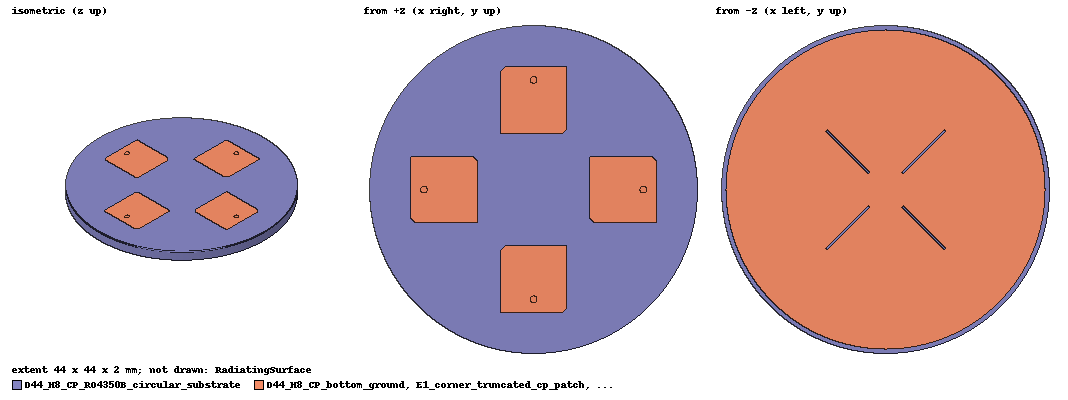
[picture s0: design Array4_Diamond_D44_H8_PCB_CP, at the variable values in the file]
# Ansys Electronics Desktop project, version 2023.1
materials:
  vacuum: permittivity=1
  RO4350B_custom_D44_H8_CP: permittivity=3.48 permeability=1 dielectric_loss_tangent=0.0037
  copper: permeability=0.999991 conductivity=58000000
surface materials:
  Steel-oxidised-surface

design Array4_Diamond_D44_H8_PCB_CP (HFSS, HFSS Modal Network, model units mm)
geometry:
  D44_H8_CP_RO4350B_circular_substrate [RO4350B_custom_D44_H8_CP] = cylinder(axis=Z, base_centre=(0mm, 0mm, 0mm), radius=22mm, height=2mm, segments=128)
  D44_H8_CP_bottom_ground [copper] = circle(normal=Z, centre=(0mm, 0mm, 0mm), radius=21.4mm, segments=128)
  ground_isolation_slot_1 = polyline(z=0mm, xy in mm: (2.3864854, 2.138998) (8.0433396, 7.7958523) (7.7958523, 8.0433396) (2.138998, 2.3864854) (2.3864854, 2.138998), closed, covered)
  ground_isolation_slot_2 = polyline(z=0mm, xy in mm: (-2.138998, 2.3864854) (-7.7958523, 8.0433396) (-8.0433396, 7.7958523) (-2.3864854, 2.138998) (-2.138998, 2.3864854), closed, covered)
  ground_isolation_slot_3 = polyline(z=0mm, xy in mm: (-2.3864854, -2.138998) (-8.0433396, -7.7958523) (-7.7958523, -8.0433396) (-2.138998, -2.3864854) (-2.3864854, -2.138998), closed, covered)
  ground_isolation_slot_4 = polyline(z=0mm, xy in mm: (2.138998, -2.3864854) (7.7958523, -8.0433396) (8.0433396, -7.7958523) (2.3864854, -2.138998) (2.138998, -2.3864854), closed, covered)
  D44_H8_CP_bottom_ground.subtract(ground_isolation_slot_1..ground_isolation_slot_4)
  E1_corner_truncated_cp_patch [copper] = polyline(z=2mm, xy in mm: (8.1858153, -4.455) (16.475815, -4.455) (16.475815, 3.835) (15.855815, 4.455) (7.5658153, 4.455) (7.5658153, -3.835) (8.1858153, -4.455), closed, covered)
  E1_feed_pad [copper] = circle(normal=Z, centre=(14.700815mm, 0mm, 2mm), radius=0.45mm, segments=36)
  E1_probe_lumped_port_sheet = polyline(x=14.700815mm, yz in mm: (-0.375, 0) (0.375, 0) (0.375, 2) (-0.375, 2) (-0.375, 0), closed, covered)
  E2_corner_truncated_cp_patch [copper] = polyline(z=2mm, xy in mm: (4.455, 8.1858153) (4.455, 16.475815) (-3.835, 16.475815) (-4.455, 15.855815) (-4.455, 7.5658153) (3.835, 7.5658153) (4.455, 8.1858153), closed, covered)
  E2_feed_pad [copper] = circle(normal=Z, centre=(9.0016532e-16mm, 14.700815mm, 2mm), radius=0.45mm, segments=36)
  E2_probe_lumped_port_sheet = polyline(y=14.700815mm, xz in mm: (0.375, 0) (-0.375, 0) (-0.375, 2) (0.375, 2) (0.375, 0), closed, covered)
  E3_corner_truncated_cp_patch [copper] = polyline(z=2mm, xy in mm: (-8.1858153, 4.455) (-16.475815, 4.455) (-16.475815, -3.835) (-15.855815, -4.455) (-7.5658153, -4.455) (-7.5658153, 3.835) (-8.1858153, 4.455), closed, covered)
  E3_feed_pad [copper] = circle(normal=Z, centre=(-14.700815mm, 1.8003306e-15mm, 2mm), radius=0.45mm, segments=36)
  E3_probe_lumped_port_sheet = polyline(x=-14.700815mm, yz in mm: (0.375, 0) (-0.375, 0) (-0.375, 2) (0.375, 2) (0.375, 0), closed, covered)
  E4_corner_truncated_cp_patch [copper] = polyline(z=2mm, xy in mm: (-4.455, -8.1858153) (-4.455, -16.475815) (3.835, -16.475815) (4.455, -15.855815) (4.455, -7.5658153) (-3.835, -7.5658153) (-4.455, -8.1858153), closed, covered)
  E4_feed_pad [copper] = circle(normal=Z, centre=(-2.700496e-15mm, -14.700815mm, 2mm), radius=0.45mm, segments=36)
  E4_probe_lumped_port_sheet = polyline(y=-14.700815mm, xz in mm: (-0.375, 0) (0.375, 0) (0.375, 2) (-0.375, 2) (-0.375, 0), closed, covered)
  RadiatingSurface [vacuum] = region(absolute_offset=14.285714mm on all sides)
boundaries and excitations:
  D44_H8_PCB_CP_PEC_metallization: Perfect E Objects=[D44_H8_CP_bottom_ground, E1_corner_truncated_cp_patch, E1_feed_pad, E2_corner_truncated_cp_patch, E2_feed_pad, E3_corner_truncated_cp_patch, E3_feed_pad, E4_corner_truncated_cp_patch, E4_feed_pad]
  Open1: Radiation Objects=RadiatingSurface
  P1: Lumped Port Objects=E1_probe_lumped_port_sheet LumpedPortType=Modal Modes{Mode1{IntLine{(14.700815, 0, 2) -> (14.700815, 0, 0)} CharImp=Zpi RenormImp=50ohm}} Impedance=50ohm
  P2: Lumped Port Objects=E2_probe_lumped_port_sheet LumpedPortType=Modal Modes{Mode1{IntLine{(0, 14.700815, 2) -> (0, 14.700815, 0)} CharImp=Zpi RenormImp=50ohm}} Impedance=50ohm
  P3: Lumped Port Objects=E3_probe_lumped_port_sheet LumpedPortType=Modal Modes{Mode1{IntLine{(-14.700815, 0, 2) -> (-14.700815, 0, 0)} CharImp=Zpi RenormImp=50ohm}} Impedance=50ohm
  P4: Lumped Port Objects=E4_probe_lumped_port_sheet LumpedPortType=Modal Modes{Mode1{IntLine{(0, -14.700815, 2) -> (0, -14.700815, 0)} CharImp=Zpi RenormImp=50ohm}} Impedance=50ohm
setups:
  Setup_CH9: HfssDriven Frequency=8GHz MaxDeltaS=0.05 MaximumPasses=4 MinimumPasses=1 MinimumConvergedPasses=1 PercentRefinement=30 BasisOrder=1 PortAccuracy=2 DrivenSolverType="Direct Solver"
    sweep Sweep_CH9: 7.738GHz to 8.233GHz, 3 points; Type=Discrete SaveFields SaveRadFields
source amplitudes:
  P1:1: 1W 0deg
  P2:1, P3:1, P4:1: 0W 0deg
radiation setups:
  3D: Infinite Sphere Theta=0deg..180deg step 2deg Phi=-180deg..180deg step 2deg
  Elevation: Infinite Sphere Theta=-180deg..180deg step 1deg Phi=0deg..90deg step 90deg
  Azimuth: Infinite Sphere Theta=90deg..90deg step 0deg Phi=-180deg..180deg step 1deg
  Upper_Hemisphere_5deg: Infinite Sphere Theta=0deg..360deg step 5deg Phi=0deg..90deg step 5deg
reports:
  H8_PCB_CP_S_Parameters: dB(S(P3:1,P3:1)), dB(S(P1:1,P1:1)), dB(S(P2:1,P2:1)), dB(S(P4:1,P4:1)), dB(S(P3:1,P1:1)), dB(S(P3:1,P2:1)), dB(S(P3:1,P4:1)), dB(S(P1:1,P3:1)), dB(S(P1:1,P2:1)), dB(S(P1:1,P4:1)), dB(S(P2:1,P3:1)), dB(S(P2:1,P1:1)), dB(S(P2:1,P4:1)), dB(S(P4:1,P3:1)), dB(S(P4:1,P1:1)), dB(S(P4:1,P2:1)) vs Freq on Setup_CH9 : Sweep_CH9
  H8_PCB_CP_3D_GainTotal_8GHz: dB(GainTotal) vs Phi, Theta on Setup_CH9 : Sweep_CH9, Upper_Hemisphere_5deg [Freq=8GHz]
  H8_PCB_CP_3D_AxialRatio_8GHz: AxialRatioValue vs Phi, Theta on Setup_CH9 : Sweep_CH9, Upper_Hemisphere_5deg [Freq=8GHz]
